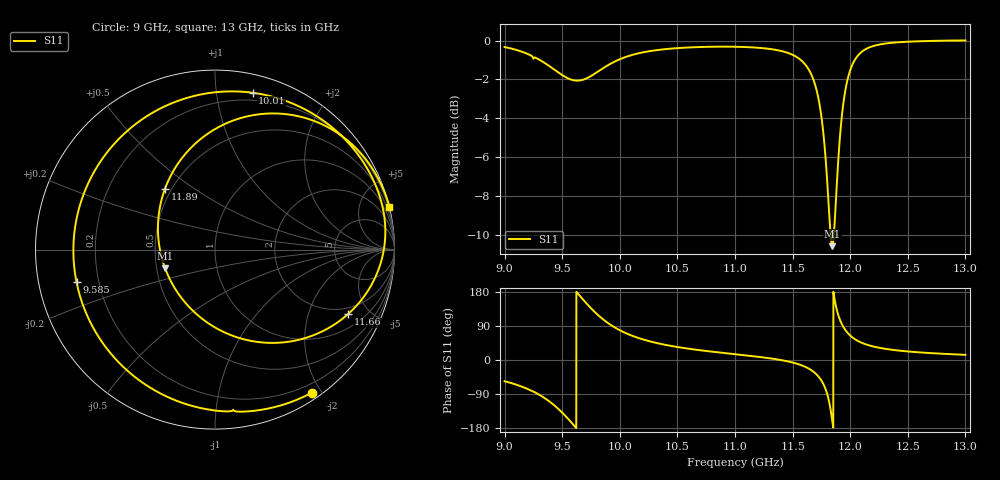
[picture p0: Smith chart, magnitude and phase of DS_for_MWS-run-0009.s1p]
! TOUCHSTONE file generated by CST DESIGN STUDIO
! Date and time: Tue Feb  4 13:43:04 2025
! Project name: C:\Work\MatlabApps\UnitCellOptimizationMatlab\CST\unitcell.cst
! Tree item: Tasks\Sweep1\SPara1\S-Parameters
! Header version: 2024
! Port assignment regex: !\s*Touchstone port\s*([0-9]+)\s*=\s*(CST MWS port|CST DES external port|CST DES block port)\s*(.+)\s* \(\"(.*)\"\)(\s*mode\s*([0-9]+))?.*
! Touchstone port assignment:
! Touchstone port 1 = CST DES external port 1 ("")
# GHz S MA R 50
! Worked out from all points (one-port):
!   4001 points, 9 GHz to 13 GHz, reference 50 ohm
!   lowest |S11| = -10.6 dB at 11.84 GHz (marker M1), VSWR 1.84, Z = 27.7 - j6.37 ohm
!   |S11| at or under -10 dB: 11.83028 GHz to 11.85785 GHz (27.57 MHz wide, 0.233 % of centre)
!   S11 on the Smith chart (normalised r, x): 9 GHz: 0.09, -1.88; 9.585 GHz: 0.12, -0.11; 10.01 GHz: 0.14, +1.26; 11.66 GHz: 1.63, -3.65; 11.89 GHz: 0.46, +0.39; 13 GHz: -0.01, +8.36
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9  0.9622 -56.0
9.157  0.9344 -71.2
9.311  0.8895 -93.6
9.41  0.851 -114.4
9.5  0.8154 -138.9
9.585  0.7925 -166.7
9.681  0.7932 159.4
9.795  0.8266 123.0
9.888  0.861 99.6
10  0.8953 78.5
10.013  0.8986 76.5
10.222  0.9351 52.4
10.5  0.956 34.3
11  0.9638 15.3
11.306  0.9511 4.3
11.5  0.9189 -6.7
11.658  0.8233 -25.9
11.719  0.7227 -41.7
11.774  0.5514 -67.7
11.809  0.3966 -99.3
11.844  0.2968 -159.3
11.886  0.4386 129.5
11.937  0.6766 89.2
12  0.8391 64.5
12.072  0.9187 49.4
12.167  0.9604 38.3
12.5  0.9929 22.5
13  1 13.6
